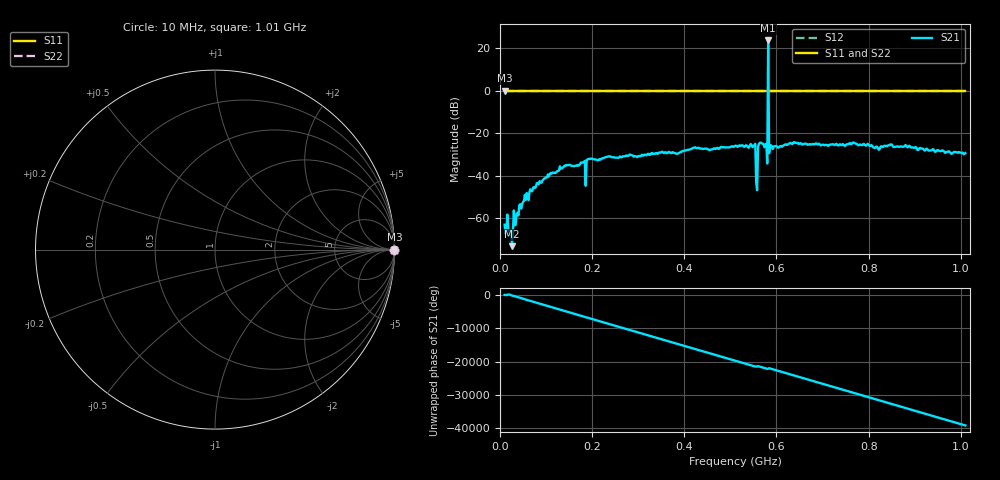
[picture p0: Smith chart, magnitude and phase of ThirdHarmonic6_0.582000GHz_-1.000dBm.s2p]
! 8/15/2025 6:49:20 PM
! C:\ANRITSUVNA\TEMP\TEMP.S2P
! CHANNEL.1
! TR.MEASUREMENT
! RAW.DATA
! RF.CORRECTION.OFF
! AVERAGING.OFF
! IF.BANDWIDTH: 5KHZ
! SWEEPTYPE:  FREQ.SWEEP(Linear)
! Reference Plane Port Info
! PORT:  PORT1  PORT2
! DISTANCE:  0  m  0  m
! TIME:  0  s  0  s
! PHASE.OFFSET:  0  deg.  0  deg.
! LOSS:  0  dB  0  dB
! REF.LOSS:  0  dB  0  dB
! REF.FREQ:  0  Hz  0  Hz
! Power Info
! POWER:  -20  dBm  -20  dBm
! EFF.POWER:  -20  dBm  -20  dBm
! SOURCE.ATTEN:  0  dB  0  dB
! TEST.ATTEN:  0  dB  0  dB
# GHZ S RI R 50.0
! FREQ.GHZ  S11RE  S11IM  S21RE  S21IM  S12RE  S12IM  S22RE  S22IM
!; PortSelection: Port_12
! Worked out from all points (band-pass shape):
!   501 points, 10 MHz to 1.01 GHz, reference 50 ohm
!   highest |S21| = 23.77 dB at 582 MHz (marker M1); lowest = -73.3 dB at 26 MHz (marker M2)
!   |S21| within 3 dB of the highest: 581.8967 MHz to 582.1126 MHz (215.9 kHz wide, 0.0371 % of centre)
!   lowest |S11| = 0.0 dB at 10 MHz (marker M3)
!   |S11| at or under -10 dB: nowhere
!   |S22| runs from 0.0 to 0.0 dB; largest |S21 - S12| = 16
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0.01  1 0  0.000512 0.000461  1 0  1 0
0.024  1 0  0.000235 -0.000452  1 0  1 0
0.026  1 0  -0.00017 -0.000132  1 0  1 0
0.046  1 0  -0.00124 0.0011  1 0  1 0
0.082  1 0  -0.00235 0.00618  1 0  1 0
0.142  1 0  -0.0163 -0.00416  1 0  1 0
0.178  1 0  -0.0199 0.00222  1 0  1 0
0.344  1 0  0.0264 -0.0218  1 0  1 0
0.51  1 0  -0.0209 0.0457  1 0  1 0
0.55  1 0  0.028 -0.0413  1 0  1 0
0.554  1 0  -0.0418 0.0374  1 0  1 0
0.556  1 0  -0.00676 0.000132  1 0  1 0
0.56  1 0  -0.00815 -0.0467  1 0  1 0
0.564  1 0  -0.00932 0.0584  1 0  1 0
0.576  1 0  0.0447 -0.031  1 0  1 0
0.578  1 0  -0.0235 -0.0507  1 0  1 0
0.582  1 0  -11.21 -10.6  1 0  1 0
0.586  1 0  0.0134 -0.0502  1 0  1 0
0.588  1 0  -0.0484 -0.0183  1 0  1 0
0.678  1 0  -0.0549 0.00874  1 0  1 0
0.844  1 0  0.0339 -0.0395  1 0  1 0
1.01  1 0  -0.000594 0.0338  1 0  1 0
